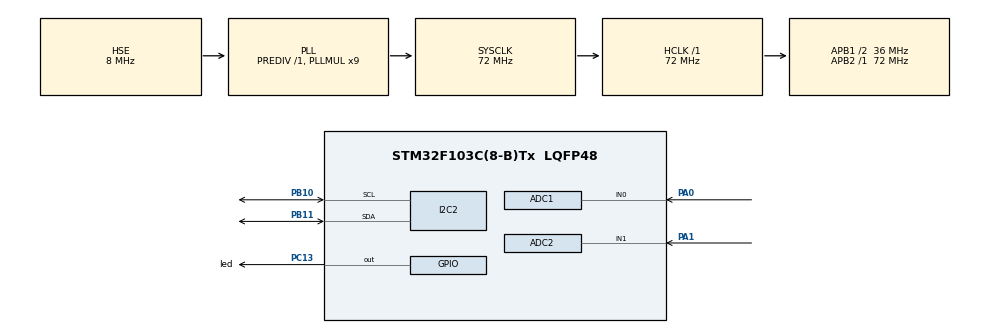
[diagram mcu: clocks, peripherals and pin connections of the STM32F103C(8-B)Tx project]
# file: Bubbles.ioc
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ADC1.Channel-0\#ChannelRegularConversion=ADC_CHANNEL_0
ADC1.ExternalTrigConv=ADC_EXTERNALTRIGCONV_T3_TRGO
ADC1.Mode=ADC_DUALMODE_REGSIMULT
ADC1.NbrOfConversionFlag=1
ADC1.Rank-0\#ChannelRegularConversion=1
ADC1.SamplingTime-0\#ChannelRegularConversion=ADC_SAMPLETIME_13CYCLES_5
ADC1.master=1
ADC2.Channel-0\#ChannelRegularConversion=ADC_CHANNEL_1
ADC2.Mode=ADC_DUALMODE_REGSIMULT
ADC2.NbrOfConversionFlag=1
ADC2.Rank-0\#ChannelRegularConversion=1
ADC2.SamplingTime-0\#ChannelRegularConversion=ADC_SAMPLETIME_1CYCLE_5
I2C2.I2C_Mode=I2C_Fast
Mcu.Family=STM32F1
Mcu.Name=STM32F103C(8-B)Tx
Mcu.Package=LQFP48
NVIC.ADC1_2_IRQn=true\:0\:0\:false\:false\:true\:true\:true\:true
NVIC.PriorityGroup=NVIC_PRIORITYGROUP_4
NVIC.TIM3_IRQn=true\:0\:0\:false\:false\:true\:true\:true\:true
PA0-WKUP.Signal=ADCx_IN0
PA1.Signal=ADCx_IN1
PA13.Mode=Serial_Wire
PA13.Signal=SYS_JTMS-SWDIO
PA14.Mode=Serial_Wire
PA14.Signal=SYS_JTCK-SWCLK
PB10.Mode=I2C
PB10.Signal=I2C2_SCL
PB11.Mode=I2C
PB11.Signal=I2C2_SDA
PC13-TAMPER-RTC.GPIO_Label=led
PC13-TAMPER-RTC.Signal=GPIO_Output
PD0-OSC_IN.Mode=HSE-External-Oscillator
PD0-OSC_IN.Signal=RCC_OSC_IN
PD1-OSC_OUT.Mode=HSE-External-Oscillator
PD1-OSC_OUT.Signal=RCC_OSC_OUT
ProjectManager.HeapSize=0x200
ProjectManager.StackSize=0x400
ProjectManager.TargetToolchain=EWARM V8.32
RCC.ADCPresc=RCC_ADCPCLK2_DIV6
RCC.AHBFreq_Value=72000000
RCC.APB1CLKDivider=RCC_HCLK_DIV2
RCC.APB1Freq_Value=36000000
RCC.APB1TimFreq_Value=72000000
RCC.APB2Freq_Value=72000000
RCC.APB2TimFreq_Value=72000000
RCC.HCLKFreq_Value=72000000
RCC.PLLMUL=RCC_PLL_MUL9
RCC.PLLSourceVirtual=RCC_PLLSOURCE_HSE
RCC.SYSCLKFreq_VALUE=72000000
RCC.SYSCLKSource=RCC_SYSCLKSOURCE_PLLCLK
RCC.USBFreq_Value=72000000
SH.ADCx_IN0.0=ADC1_IN0,IN0
SH.ADCx_IN1.0=ADC2_IN1,IN1
TIM3.Channel-Output\ Compare1\ No\ Output=TIM_CHANNEL_1
TIM3.OCMode_1=TIM_OCMODE_TOGGLE
TIM3.Period=124
TIM3.Prescaler=35
TIM3.TIM_MasterOutputTrigger=TIM_TRGO_UPDATE
VP_TIM3_VS_ClockSourceINT.Mode=Internal
VP_TIM3_VS_no_output1.Mode=Output Compare1 No Output
board=custom

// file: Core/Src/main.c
/* USER CODE BEGIN Header */
/**
  ******************************************************************************
  * @file           : main.c
  * @brief          : Main program body
  ******************************************************************************
  * @attention
  *
  * Copyright (c) 2022 STMicroelectronics.
  * All rights reserved.
  *
  * This software is licensed under terms that can be found in the LICENSE file
  * in the root directory of this software component.
  * If no LICENSE file comes with this software, it is provided AS-IS.
  *
  ******************************************************************************
  */
/* USER CODE END Header */
#include "main.h"

/* USER CODE BEGIN Includes */
#include "OLED_Fonts.h"
#include "OLED.h"
#include "string.h"
#include "stdlib.h"
/* USER CODE END Includes */

/* USER CODE BEGIN PD */
#define ADC_AVERAGE_SIZE 16
#define ADC_BUF_SIZE 128
/* USER CODE END PD */

ADC_HandleTypeDef hadc1;
ADC_HandleTypeDef hadc2;

I2C_HandleTypeDef hi2c2;

TIM_HandleTypeDef htim3;

/* USER CODE BEGIN PV */
char trans_str[64] = {0,};
uint16_t adc1Array [ADC_BUF_SIZE];
uint16_t adc2Array [ADC_BUF_SIZE];
uint16_t i,j,k;
int index1 = 0;
int index2 = 0;
uint32_t adcFlag = 0;
uint32_t deltaTimePeaks = 0;
uint32_t measureReady = 0;
/* USER CODE END PV */

void SystemClock_Config(void);
static void MX_GPIO_Init(void);
static void MX_I2C2_Init(void);
static void MX_ADC1_Init(void);
static void MX_TIM3_Init(void);
static void MX_ADC2_Init(void);

/* USER CODE BEGIN 0 */

char* ftoa(double data, char *str, int precise)
{
    char sss[16];
    int sign = (data < 0);
    if (sign) data=0-data;
    uint32_t pow=1;
    int p=precise;
    while (p--) pow*=10;
    data*=pow;
    uint32_t DataInt = (uint32_t)(data+0.5);
    char *ps = sss;
    p=precise;
    while (p--) {*ps++ = (DataInt % 10)+'0'; DataInt/=10;}
    if (precise>0) *ps++='.';
    if (DataInt==0) *ps++ = '0';
    while (DataInt) {*ps++ = (DataInt % 10)+'0'; DataInt/=10;}
    if (sign) *ps++='-';
    ps--;
    while (ps>=sss) {*str++ = *ps--;}
    *str=0;
    return str;
}

/*    Оцифровка с частотой 16 kSPS/s   */
void HAL_ADC_ConvCpltCallback(ADC_HandleTypeDef* hadc)
{
    static uint32_t subindex = 0;
    static int32_t adc1Summator = 0;
    static int32_t adc2Summator = 0;
    static int32_t adc1NullValue = INT32_MAX;
    static int32_t adc2NullValue = INT32_MAX;
    static uint32_t adc1NullSumm = 0;
    static uint32_t adc2NullSumm = 0;
    static uint32_t adcNullCount = 0;
    static uint32_t adc1NullPorog = 0;
    static uint32_t adc2NullPorog = 0;
    static uint32_t adc1FindingPeak = 0;
    static uint32_t adc2FindingPeak = 0;
    static uint32_t adc1PeakMin = 0;
    static uint32_t adc2PeakMin = 0;
    static uint32_t adc1PeakTime = 0;
    static uint32_t adc2PeakTime = 0;
    static uint32_t firstPeakFound = 0;
    static uint32_t adc1FlagDelay = 0;
    static uint32_t adc2FlagDelay = 0;
    static uint32_t adc1Flag = 0;
    static uint32_t adc2Flag = 0;

    if(hadc->Instance == ADC1) //check if the interrupt comes from ACD1
    {
        adc1Summator += HAL_ADC_GetValue(&hadc1);
        adc2Summator += HAL_ADC_GetValue(&hadc2);
        if (++subindex >= 16) {
            subindex = 0;
            // Измерение нуля
            adc1NullSumm += adc1Summator;
            adc2NullSumm += adc2Summator;
            if (++adcNullCount >= 200) {  // 200 мс ровного сигнала считаем за нуль
                if (adc1NullSumm >5000) { // Нуль не должен быть слишком маленьким
                    adc1NullValue = adc1NullSumm/adcNullCount;
                    adc1NullPorog = adc1NullValue * 9 / 10;
                }
                if (adc2NullSumm >5000) { // Нуль не должен быть слишком маленьким
                    adc2NullValue = adc2NullSumm/adcNullCount;
                    adc2NullPorog = adc2NullValue * 9 / 10;
                }
                adcNullCount = 0;
                adc1NullSumm = 0;
                adc2NullSumm = 0;
            }

            if (adc1NullValue < INT32_MAX) {  // Нуль известен
                if (abs(adc1Summator-adc1NullValue) > 160) {  // Сорвалось измерение нуля
                    adcNullCount = 0;
                    adc1NullSumm = 0;
                    adc2NullSumm = 0;
                }
                if (adc1Flag == 0) {
                    adc1Array[index1] = adc1Summator * 60 / adc1NullValue;     // Осциллограмма ADC1
                    if (++index1 >= ADC_BUF_SIZE) index1 = 0;
                }
                if (adc2Flag == 0) {
                    adc2Array[index2] = adc2Summator * 60 / adc2NullValue - 3; // Осциллограмма ADC2
                    if (++index2 >= ADC_BUF_SIZE) index2 = 0;
                }

                if (!firstPeakFound) {
                    // Ожидание пузыря через первый датчик
                    if (adc1FindingPeak) {
                        if (adc1Summator < adc1PeakMin) {
                            adc1PeakMin = adc1Summator;
//                            adc1PeakTime = HAL_GetTick();
                        }
                        if (adc1Summator > adc1NullPorog) {
                            adc1FindingPeak = 0;
                            firstPeakFound++;
                        }
                    } else if (adc1Summator <= adc1NullPorog) {
                        adc1FindingPeak = 1;
                        adc1PeakTime = HAL_GetTick();
                        adc1PeakMin = adc1Summator;
                        if (adc1FlagDelay == 0) adc1FlagDelay = 110;
                    }
                } else {
                    // Ожидание пузыря через второй датчик
                    if (adc2FindingPeak) {
                        if (adc2Summator < adc2PeakMin) {
                            adc2PeakMin = adc2Summator;
//                            adc2PeakTime = HAL_GetTick();
                        }
                        if (adc2Summator > adc2NullPorog) {
                            adc2FindingPeak = 0;
                            firstPeakFound = 0;
                            deltaTimePeaks = adc2PeakTime - adc1PeakTime;
                            measureReady = 1;
                        }
                    } else if (adc2Summator <= adc2NullPorog) {
                        adc2FindingPeak = 1;
                        adc2PeakTime = HAL_GetTick();
                        adc2PeakMin = adc2Summator;
                        if (adc2FlagDelay == 0) adc2FlagDelay = 60;
                    }
                }

            }

            adc1Summator = 0;
            adc2Summator = 0;

            if ((adc1FlagDelay) && (--adc1FlagDelay == 0))
                adc1Flag = 1;
            if (adc2Flag) {
                adc2Flag--;
                adc1Flag = adc2Flag;
            }
            if ((adc2FlagDelay) && (--adc2FlagDelay == 0)) adc2Flag = 1000;

        }
    }
}

/* USER CODE END 0 */

int main(void)
{

  /* MCU Configuration--------------------------------------------------------*/

  /* Reset of all peripherals, Initializes the Flash interface and the Systick. */
  HAL_Init();

  /* Configure the system clock */
  SystemClock_Config();

  /* Initialize all configured peripherals */
  MX_GPIO_Init();
  MX_I2C2_Init();
  MX_ADC1_Init();
  MX_TIM3_Init();
  MX_ADC2_Init();
  /* USER CODE BEGIN 2 */
  char sss[40];

  OLED_Init(&hi2c2);  FontSet(Segoe_UI_Eng_12);  OLED_Clear(0);  OLED_DrawStr("start", 80, 0, RIGHT);  OLED_UpdateScreen();
  /* --------------------------------------------- */
  for (i=0; i<ADC_BUF_SIZE; i++) {adc1Array [i] = 0; adc2Array [i] = 0;}         // зачистка
  HAL_ADCEx_Calibration_Start(&hadc1);             // калибровка ацп
  HAL_Delay(100);
  HAL_ADCEx_Calibration_Start(&hadc2);             // калибровка ацп
  HAL_Delay(100);
  HAL_ADC_Start_IT(&hadc1);                        // запускаем преобразование сигнала АЦП1
  HAL_ADC_Start_IT(&hadc2);                        // запускаем преобразование сигнала АЦП2
  HAL_TIM_Base_Start   (&htim3);

  HAL_GPIO_WritePin(led_GPIO_Port,led_Pin,GPIO_PIN_SET);

  /* USER CODE END 2 */

  /* Infinite loop */
  /* USER CODE BEGIN WHILE */
  while (1)
  {
//    if (adcFlag == 0)
//    {
      OLED_Clear(0);
      int i81 = index1;
      int i82 = index2;
      for (int i8 = 0; i8 < ADC_BUF_SIZE; i8++)
      {
          if(++i81 >= ADC_BUF_SIZE) i81 = 0;
          if(++i82 >= ADC_BUF_SIZE) i82 = 0;
          OLED_DrawPixel(i8, 63 - adc1Array[i81]);
          OLED_DrawPixel(i8, 63 - adc2Array[i82]);
      }
      if (1) {//(measureReady) {
          measureReady = 0;
          char *sssend = ftoa(deltaTimePeaks, sss, 0);
          *sssend++ = ' ';
          *sssend++ = 'm';
          *sssend++ = 's';
          *sssend = 0;
          FontSet(Segoe_UI_Eng_12);                      // шрифт
          OLED_DrawStr(sss, 20, 40, LEFT);
          if (deltaTimePeaks>0) {
              float value = 20*60 / (float)deltaTimePeaks; // V=20мл, мл/мс -> л/мин
              char *sssend = ftoa(value, sss, 2);
              *sssend++ = ' ';
              *sssend++ = 's';
              *sssend++ = 'l';
              *sssend++ = 'p';
              *sssend++ = 'm';
              *sssend = 0;
              OLED_DrawStr(sss, 20, 52, LEFT);
          }
      }
      OLED_UpdateScreen();
      //HAL_GPIO_TogglePin(led_GPIO_Port,led_Pin);
//    }

    //HAL_ADC_PollForConversion(&hadc1, 100); // ожидаем окончания преобразования
    //adc = HAL_ADC_GetValue(&hadc1); // читаем полученное значение в переменную adc
    //HAL_ADC_Stop(&hadc1); // останавливаем АЦП (не обязательно)

    //snprintf(trans_str, 10, "%d", adc);
    //OLED_Clear(0);
    //OLED_DrawStr(trans_str, 2, 2, RIGHT);
    //OLED_UpdateScreen();

    /* USER CODE END WHILE */

  }
}

void SystemClock_Config(void)
{
  RCC_OscInitTypeDef RCC_OscInitStruct = {0};
  RCC_ClkInitTypeDef RCC_ClkInitStruct = {0};
  RCC_PeriphCLKInitTypeDef PeriphClkInit = {0};

  /** Initializes the RCC Oscillators according to the specified parameters
  * in the RCC_OscInitTypeDef structure.
  */
  RCC_OscInitStruct.OscillatorType = RCC_OSCILLATORTYPE_HSE;
  RCC_OscInitStruct.HSEState = RCC_HSE_ON;
  RCC_OscInitStruct.HSEPredivValue = RCC_HSE_PREDIV_DIV1;
  RCC_OscInitStruct.HSIState = RCC_HSI_ON;
  RCC_OscInitStruct.PLL.PLLState = RCC_PLL_ON;
  RCC_OscInitStruct.PLL.PLLSource = RCC_PLLSOURCE_HSE;
  RCC_OscInitStruct.PLL.PLLMUL = RCC_PLL_MUL9;
  if (HAL_RCC_OscConfig(&RCC_OscInitStruct) != HAL_OK)
  {
    Error_Handler();
  }

  /** Initializes the CPU, AHB and APB buses clocks
  */
  RCC_ClkInitStruct.ClockType = RCC_CLOCKTYPE_HCLK|RCC_CLOCKTYPE_SYSCLK
                              |RCC_CLOCKTYPE_PCLK1|RCC_CLOCKTYPE_PCLK2;
  RCC_ClkInitStruct.SYSCLKSource = RCC_SYSCLKSOURCE_PLLCLK;
  RCC_ClkInitStruct.AHBCLKDivider = RCC_SYSCLK_DIV1;
  RCC_ClkInitStruct.APB1CLKDivider = RCC_HCLK_DIV2;
  RCC_ClkInitStruct.APB2CLKDivider = RCC_HCLK_DIV1;

  if (HAL_RCC_ClockConfig(&RCC_ClkInitStruct, FLASH_LATENCY_2) != HAL_OK)
  {
    Error_Handler();
  }
  PeriphClkInit.PeriphClockSelection = RCC_PERIPHCLK_ADC;
  PeriphClkInit.AdcClockSelection = RCC_ADCPCLK2_DIV6;
  if (HAL_RCCEx_PeriphCLKConfig(&PeriphClkInit) != HAL_OK)
  {
    Error_Handler();
  }
}

static void MX_ADC1_Init(void)
{

  ADC_MultiModeTypeDef multimode = {0};
  ADC_ChannelConfTypeDef sConfig = {0};

  /** Common config
  */
  hadc1.Instance = ADC1;
  hadc1.Init.ScanConvMode = ADC_SCAN_DISABLE;
  hadc1.Init.ContinuousConvMode = DISABLE;
  hadc1.Init.DiscontinuousConvMode = DISABLE;
  hadc1.Init.ExternalTrigConv = ADC_EXTERNALTRIGCONV_T3_TRGO;
  hadc1.Init.DataAlign = ADC_DATAALIGN_RIGHT;
  hadc1.Init.NbrOfConversion = 1;
  if (HAL_ADC_Init(&hadc1) != HAL_OK)
  {
    Error_Handler();
  }

  /** Configure the ADC multi-mode
  */
  multimode.Mode = ADC_DUALMODE_REGSIMULT;
  if (HAL_ADCEx_MultiModeConfigChannel(&hadc1, &multimode) != HAL_OK)
  {
    Error_Handler();
  }

  /** Configure Regular Channel
  */
  sConfig.Channel = ADC_CHANNEL_0;
  sConfig.Rank = ADC_REGULAR_RANK_1;
  sConfig.SamplingTime = ADC_SAMPLETIME_13CYCLES_5;
  if (HAL_ADC_ConfigChannel(&hadc1, &sConfig) != HAL_OK)
  {
    Error_Handler();
  }

}

static void MX_ADC2_Init(void)
{

  ADC_ChannelConfTypeDef sConfig = {0};

  /** Common config
  */
  hadc2.Instance = ADC2;
  hadc2.Init.ScanConvMode = ADC_SCAN_DISABLE;
  hadc2.Init.ContinuousConvMode = DISABLE;
  hadc2.Init.DiscontinuousConvMode = DISABLE;
  hadc2.Init.ExternalTrigConv = ADC_SOFTWARE_START;
  hadc2.Init.DataAlign = ADC_DATAALIGN_RIGHT;
  hadc2.Init.NbrOfConversion = 1;
  if (HAL_ADC_Init(&hadc2) != HAL_OK)
  {
    Error_Handler();
  }

  /** Configure Regular Channel
  */
  sConfig.Channel = ADC_CHANNEL_1;
  sConfig.Rank = ADC_REGULAR_RANK_1;
  sConfig.SamplingTime = ADC_SAMPLETIME_1CYCLE_5;
  if (HAL_ADC_ConfigChannel(&hadc2, &sConfig) != HAL_OK)
  {
    Error_Handler();
  }

}

static void MX_I2C2_Init(void)
{

  hi2c2.Instance = I2C2;
  hi2c2.Init.ClockSpeed = 400000;
  hi2c2.Init.DutyCycle = I2C_DUTYCYCLE_2;
  hi2c2.Init.OwnAddress1 = 0;
  hi2c2.Init.AddressingMode = I2C_ADDRESSINGMODE_7BIT;
  hi2c2.Init.DualAddressMode = I2C_DUALADDRESS_DISABLE;
  hi2c2.Init.OwnAddress2 = 0;
  hi2c2.Init.GeneralCallMode = I2C_GENERALCALL_DISABLE;
  hi2c2.Init.NoStretchMode = I2C_NOSTRETCH_DISABLE;
  if (HAL_I2C_Init(&hi2c2) != HAL_OK)
  {
    Error_Handler();
  }

}

static void MX_TIM3_Init(void)
{

  TIM_ClockConfigTypeDef sClockSourceConfig = {0};
  TIM_MasterConfigTypeDef sMasterConfig = {0};
  TIM_OC_InitTypeDef sConfigOC = {0};

  htim3.Instance = TIM3;
  htim3.Init.Prescaler = 35;
  htim3.Init.CounterMode = TIM_COUNTERMODE_UP;
  htim3.Init.Period = 124;
  htim3.Init.ClockDivision = TIM_CLOCKDIVISION_DIV1;
  htim3.Init.AutoReloadPreload = TIM_AUTORELOAD_PRELOAD_DISABLE;
  if (HAL_TIM_Base_Init(&htim3) != HAL_OK)
  {
    Error_Handler();
  }
  sClockSourceConfig.ClockSource = TIM_CLOCKSOURCE_INTERNAL;
  if (HAL_TIM_ConfigClockSource(&htim3, &sClockSourceConfig) != HAL_OK)
  {
    Error_Handler();
  }
  if (HAL_TIM_OC_Init(&htim3) != HAL_OK)
  {
    Error_Handler();
  }
  sMasterConfig.MasterOutputTrigger = TIM_TRGO_UPDATE;
  sMasterConfig.MasterSlaveMode = TIM_MASTERSLAVEMODE_DISABLE;
  if (HAL_TIMEx_MasterConfigSynchronization(&htim3, &sMasterConfig) != HAL_OK)
  {
    Error_Handler();
  }
  sConfigOC.OCMode = TIM_OCMODE_TOGGLE;
  sConfigOC.Pulse = 0;
  sConfigOC.OCPolarity = TIM_OCPOLARITY_HIGH;
  sConfigOC.OCFastMode = TIM_OCFAST_DISABLE;
  if (HAL_TIM_OC_ConfigChannel(&htim3, &sConfigOC, TIM_CHANNEL_1) != HAL_OK)
  {
    Error_Handler();
  }

}

static void MX_GPIO_Init(void)
{
  GPIO_InitTypeDef GPIO_InitStruct = {0};

  /* GPIO Ports Clock Enable */
  __HAL_RCC_GPIOC_CLK_ENABLE();
  __HAL_RCC_GPIOD_CLK_ENABLE();
  __HAL_RCC_GPIOA_CLK_ENABLE();
  __HAL_RCC_GPIOB_CLK_ENABLE();

  /*Configure GPIO pin Output Level */
  HAL_GPIO_WritePin(led_GPIO_Port, led_Pin, GPIO_PIN_RESET);

  /*Configure GPIO pin : led_Pin */
  GPIO_InitStruct.Pin = led_Pin;
  GPIO_InitStruct.Mode = GPIO_MODE_OUTPUT_PP;
  GPIO_InitStruct.Pull = GPIO_NOPULL;
  GPIO_InitStruct.Speed = GPIO_SPEED_FREQ_LOW;
  HAL_GPIO_Init(led_GPIO_Port, &GPIO_InitStruct);

}

void Error_Handler(void)
{
  __disable_irq();
  while (1)
  {
  }
}
